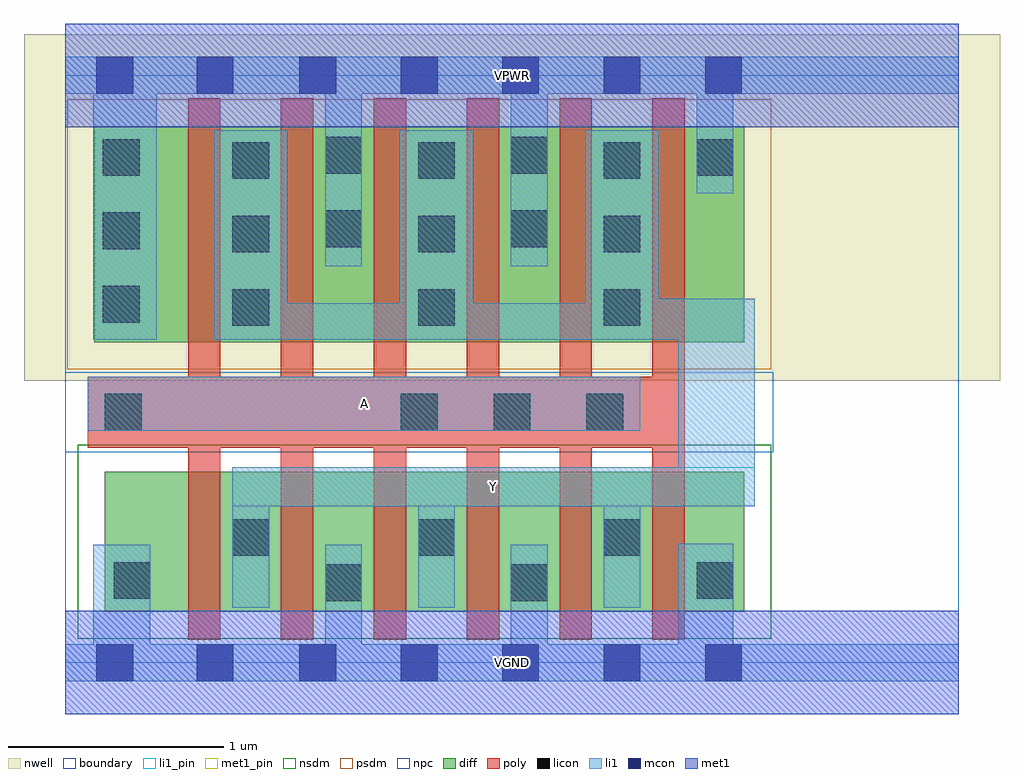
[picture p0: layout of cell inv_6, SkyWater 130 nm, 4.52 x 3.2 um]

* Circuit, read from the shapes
.subckt inv_6 A VGND VPWR Y
XM1 Y A VGND VSUBS sky130_fd_pr__nfet_01v8 w=0.65 l=0.15 m=6
XM2 Y A VPWR n1 sky130_fd_pr__pfet_01v8 w=1 l=0.15 m=6
.ends

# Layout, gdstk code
import gdstk
lib = gdstk.Library(unit=1e-6, precision=1e-09)
def R(c, l, rs):  # rectangles x0, y0, x1, y1
    for r in rs: c.add(gdstk.rectangle(r[:2], r[2:], *l))
def A(c, l, x, y, w, h, nx, ny, dx, dy):  # array of equal rectangles
    R(c, l, [(x+i*dx, y+j*dy, x+i*dx+w, y+j*dy+h) for i in range(nx) for j in range(ny)])
nwell = (64, 20)
diff = (65, 20)
poly = (66, 20)
licon = (66, 44)
li1_pin = (67, 16)
li1 = (67, 20)
mcon = (67, 44)
met1_pin = (68, 16)
met1 = (68, 20)
nsdm = (93, 44)
psdm = (94, 20)
npc = (95, 20)
boundary = (235, 4)

inv_6 = lib.new_cell('inv_6')
R(inv_6, nwell, [(-0.19,1.305,4.33,2.91), (0,1.305,4.14,2.91)])
R(inv_6, diff, [(0.185,0.235,3.145,0.885), (0.135,1.485,3.145,2.485)])
A(inv_6, poly, 0.57, 0.105, 0.15, 2.51, 6, 1, 0.43, 0)
R(inv_6, poly, [(0.105,0.995,2.87,1.325)])
A(inv_6, licon, 0.775, 0.495, 0.17, 0.17, 3, 2, 0.86, 1.065)
A(inv_6, licon, 1.555, 1.075, 0.17, 0.17, 3, 1, 0.43, 0)
A(inv_6, licon, 0.175, 1.575, 0.17, 0.17, 1, 3, 0, 0.34)
A(inv_6, licon, 0.775, 1.9, 0.17, 0.17, 3, 2, 0.86, 0.34)
R(inv_6, licon, [(1.205,0.285,1.375,0.455), (2.065,0.285,2.235,0.455), (0.225,0.295,0.395,0.465), (2.925,0.295,3.095,0.465), (0.185,1.075,0.355,1.245), (1.205,1.925,1.375,2.095), (2.065,1.925,2.235,2.095), (2.925,2.255,3.095,2.425), (1.205,2.265,1.375,2.435), (2.065,2.265,2.235,2.435)])
R(inv_6, li1_pin, [(0.775,0.725,3.195,0.905), (0.105,1.075,2.665,1.325)])
A(inv_6, li1, 0.775, 0.255, 0.17, 0.65, 3, 1, 0.86, 0)
A(inv_6, li1, 0.69, 1.495, 0.34, 0.97, 3, 1, 0.86, 0)
R(inv_6, li1, [(0,-0.085,4.14,0.085), (0.13,-0.085,0.395,0.545), (1.205,-0.085,1.375,0.545), (2.065,-0.085,2.235,0.545), (2.84,-0.085,3.095,0.55), (0.775,0.725,3.195,0.905), (2.84,0.725,3.195,1.685), (0.105,1.075,2.665,1.325), (0.13,1.495,0.425,2.805), (0.69,1.495,3.195,1.665), (2.41,1.495,3.195,1.685), (1.205,1.835,1.375,2.805), (2.065,1.835,2.235,2.805), (2.925,2.175,3.095,2.805), (0,2.635,4.14,2.805)])
A(inv_6, mcon, 1.085, -0.085, 0.17, 0.17, 5, 2, 0.47, 2.72)
R(inv_6, mcon, [(0.145,-0.085,0.315,0.085), (0.61,-0.085,0.78,0.085), (0.145,2.635,0.315,2.805), (0.61,2.635,0.78,2.805)])
R(inv_6, met1_pin, [(0,-0.24,4.14,0.24), (0,2.48,4.14,2.96)])
R(inv_6, met1, [(0,-0.24,4.14,0.24), (0,2.48,4.14,2.96)])
R(inv_6, nsdm, [(0.06,0.11,3.27,1.01)])
R(inv_6, psdm, [(0.01,1.36,3.27,2.61)])
R(inv_6, npc, [(0,0.975,3.28,1.345)])
R(inv_6, boundary, [(0,0,4.14,2.72)])
inv_6.add(gdstk.Label('A', (1.385,1.2), layer=67, texttype=5))
inv_6.add(gdstk.Label('Y', (1.985,0.815), layer=67, texttype=5))
inv_6.add(gdstk.Label('VPWR', (2.07,2.72), layer=68, texttype=5))
inv_6.add(gdstk.Label('VGND', (2.07,0), layer=68, texttype=5))
inv_6.add(gdstk.Label('A', (1.385,1.2), layer=67, texttype=16))
inv_6.add(gdstk.Label('Y', (1.985,0.815), layer=67, texttype=16))
inv_6.add(gdstk.Label('VPWR', (2.07,2.72), layer=68, texttype=16))
inv_6.add(gdstk.Label('VGND', (2.07,0), layer=68, texttype=16))

lib.write_gds('inv_6.gds')
